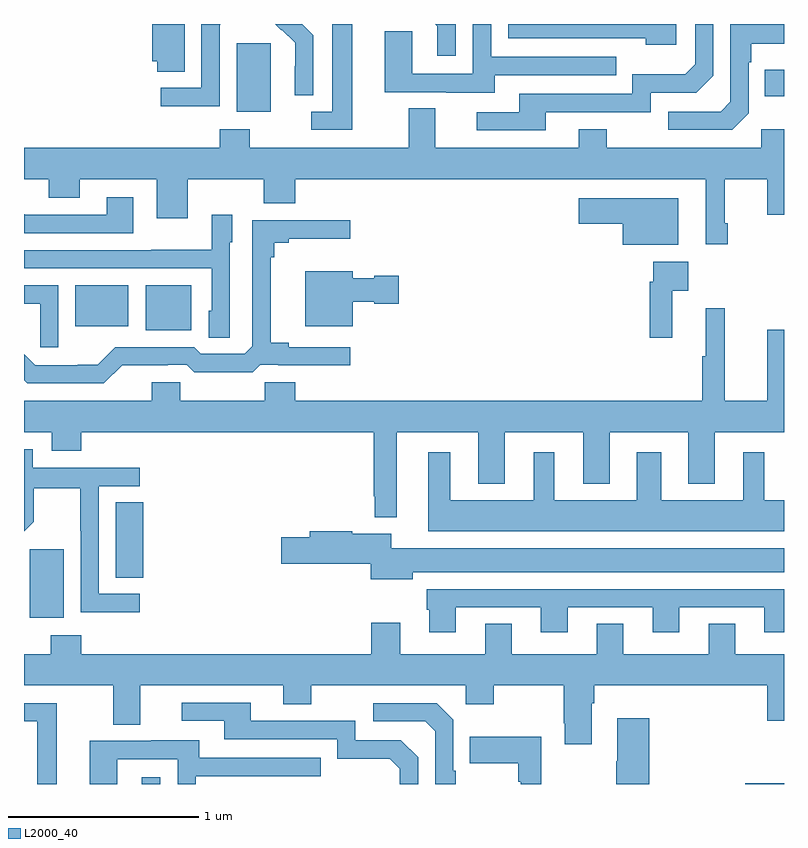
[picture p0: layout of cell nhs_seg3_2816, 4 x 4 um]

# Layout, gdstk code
import gdstk
lib = gdstk.Library(unit=1e-6, precision=1e-09)
def R(c, l, rs):  # rectangles x0, y0, x1, y1
    for r in rs: c.add(gdstk.rectangle(r[:2], r[2:], *l))
def P(c, l, *ps):  # polygons
    for p in ps: c.add(gdstk.Polygon(p, *l))
L2000_40 = (2000, 40)

nhs_seg3_2816 = lib.new_cell('nhs_seg3_2816')
R(nhs_seg3_2816, L2000_40, [(257.621,696.4,257.718,696.436), (260.796,696.4,261,696.405), (257.03,697.274,257.209,697.635), (257.483,697.486,257.627,697.883), (257.642,698.789,257.881,699.025), (257.27,698.81,257.548,699.025), (258.119,699.938,258.298,700.299), (260.899,700.019,261,700.159)])
P(nhs_seg3_2816, L2000_40, [(260.434,700.4),(259.548,700.4),(259.548,700.326),(260.273,700.326),(260.273,700.292),(260.434,700.292)],
  [(258.03,700.396),(258.033,700.396),(258.033,700.4),(257.934,700.4),(257.934,700.065),(257.721,700.065),(257.721,699.967),(258.03,699.967)],
  [(258.522,700.342),(258.464,700.4),(258.322,700.4),(258.354,700.368),(258.357,700.371),(258.428,700.301),(258.428,700.178),(258.426,700.178),(258.426,700.024),(258.522,700.024)],
  [(260.814,699.93),(260.814,700.199),(260.827,700.199),(260.827,700.295),(261,700.295),(261,700.4),(260.718,700.4),(260.718,699.99),(260.667,699.939),(260.391,699.939),(260.391,699.843),(260.727,699.843)],
  [(259.272,700.4),(259.164,700.4),(259.175,700.389),(259.175,700.233),(259.272,700.233)],
  [(259.477,700.131),(260.117,700.131),(260.117,700.227),(259.458,700.227),(259.458,700.4),(259.362,700.4),(259.362,700.137),(259.044,700.137),(259.044,700.361),(258.899,700.361),(258.899,700.041),(259.223,700.041),(259.223,700.037),(259.477,700.037)],
  [(259.747,699.936),(260.298,699.936),(260.298,700.038),(260.538,700.038),(260.628,700.128),(260.628,700.4),(260.532,700.4),(260.532,700.188),(260.479,700.135),(260.202,700.135),(260.202,700.032),(259.607,700.032),(259.607,699.936),(259.383,699.936),(259.383,699.84),(259.747,699.84)],
  [(258.727,700.4),(258.623,700.4),(258.623,699.939),(258.513,699.939),(258.513,699.843),(258.727,699.843)],
  [(257.845,700.4),(257.675,700.4),(257.675,700.203),(257.702,700.203),(257.702,700.15),(257.845,700.15)],
  [(260.705,699.352),(260.688,699.352),(260.688,699.584),(260.912,699.584),(260.912,699.396),(261,699.396),(261,699.847),(260.88,699.847),(260.88,699.748),(260.067,699.748),(260.067,699.847),(259.919,699.847),(259.919,699.748),(259.165,699.748),(259.165,699.956),(259.025,699.956),(259.025,699.748),(258.189,699.748),(258.189,699.847),(258.029,699.847),(258.029,699.748),(257,699.748),(257,699.584),(257.129,699.584),(257.129,699.485),(257.293,699.485),(257.293,699.584),(257.699,699.584),(257.699,699.378),(257.863,699.378),(257.863,699.584),(258.263,699.584),(258.263,699.456),(258.427,699.456),(258.427,699.584),(260.588,699.584),(260.588,699.24),(260.705,699.24)],
  [(257.575,699.487),(257.435,699.487),(257.435,699.396),(257.005,699.396),(257.005,699.398),(257,699.398),(257,699.3),(257.575,699.3)],
  [(260.443,699.484),(259.92,699.484),(259.92,699.35),(260.15,699.35),(260.15,699.239),(260.443,699.239)],
  [(258.084,699.252),(258.097,699.252),(258.097,699.397),(257.988,699.397),(257.988,699.211),(257.671,699.211),(257.671,699.21),(257,699.21),(257,699.114),(257.988,699.114),(257.988,698.892),(257.972,698.892),(257.972,698.749),(258.084,698.749)],
  [(257.516,698.603),(257.756,698.603),(257.756,698.607),(257.856,698.607),(257.896,698.568),(258.203,698.568),(258.243,698.607),(258.337,698.607),(258.337,698.603),(258.718,698.603),(258.718,698.7),(258.394,698.7),(258.394,698.723),(258.299,698.723),(258.299,699.173),(258.317,699.173),(258.317,699.25),(258.394,699.25),(258.394,699.269),(258.718,699.269),(258.718,699.366),(258.201,699.366),(258.201,698.703),(258.162,698.664),(257.931,698.664),(257.895,698.7),(257.481,698.7),(257.387,698.606),(257.282,698.606),(257.282,698.604),(257.058,698.604),(257,698.662),(257,698.526),(257.018,698.508),(257.421,698.508)],
  [(260.411,698.996),(260.497,698.996),(260.497,699.148),(260.313,699.148),(260.313,699.044),(260.293,699.044),(260.293,698.748),(260.411,698.748)],
  [(258.73,698.939),(258.843,698.939),(258.843,698.927),(258.973,698.927),(258.973,699.074),(258.843,699.074),(258.843,699.061),(258.73,699.061),(258.73,699.1),(258.479,699.1),(258.479,698.81),(258.73,698.81)],
  [(257.181,699.024),(257,699.024),(257,698.928),(257.085,698.928),(257.085,698.7),(257.181,698.7)],
  [(258.961,698.252),(259.391,698.252),(259.391,697.979),(259.531,697.979),(259.531,698.252),(259.943,698.252),(259.943,697.979),(260.083,697.979),(260.083,698.252),(260.495,698.252),(260.495,697.979),(260.635,697.979),(260.635,698.252),(261,698.252),(261,698.791),(260.912,698.791),(260.912,698.416),(260.688,698.416),(260.688,698.905),(260.588,698.905),(260.588,698.652),(260.569,698.652),(260.569,698.416),(258.428,698.416),(258.428,698.514),(258.267,698.514),(258.267,698.416),(257.823,698.416),(257.823,698.514),(257.672,698.514),(257.672,698.416),(257,698.416),(257,698.252),(257.147,698.252),(257.147,698.153),(257.3,698.153),(257.3,698.252),(258.84,698.252),(258.84,697.915),(258.847,697.915),(258.847,697.803),(258.961,697.803)],
  [(257.608,697.401),(257.394,697.401),(257.394,697.968),(257.608,697.968),(257.608,698.064),(257.046,698.064),(257.046,698.161),(257,698.161),(257,697.73),(257.051,697.781),(257.051,697.956),(257.296,697.956),(257.296,697.732),(257.298,697.732),(257.298,697.303),(257.608,697.303)],
  [(261,697.894),(260.896,697.894),(260.896,698.146),(260.786,698.146),(260.786,697.894),(260.353,697.894),(260.353,698.146),(260.225,698.146),(260.225,697.894),(259.792,697.894),(259.792,698.146),(259.682,698.146),(259.682,697.894),(259.243,697.894),(259.243,698.146),(259.127,698.146),(259.127,697.73),(261,697.73)],
  [(259.045,697.514),(261,697.514),(261,697.642),(258.934,697.642),(258.934,697.717),(258.728,697.717),(258.728,697.73),(258.503,697.73),(258.503,697.7),(258.354,697.7),(258.354,697.558),(258.824,697.558),(258.824,697.478),(259.045,697.478)],
  [(259.273,697.329),(259.721,697.329),(259.721,697.2),(259.861,697.2),(259.861,697.329),(260.309,697.329),(260.309,697.2),(260.449,697.2),(260.449,697.329),(260.897,697.329),(260.897,697.2),(261,697.2),(261,697.425),(259.121,697.425),(259.121,697.317),(259.133,697.317),(259.133,697.2),(259.273,697.2)],
  [(259.987,696.824),(260,696.824),(260,696.92),(260.912,696.92),(260.912,696.732),(261,696.732),(261,697.084),(260.743,697.084),(260.743,697.244),(260.603,697.244),(260.603,697.084),(260.155,697.084),(260.155,697.244),(260.015,697.244),(260.015,697.084),(259.567,697.084),(259.567,697.244),(259.427,697.244),(259.427,697.084),(258.979,697.084),(258.979,697.249),(258.827,697.249),(258.827,697.084),(257.3,697.084),(257.3,697.183),(257.14,697.183),(257.14,697.084),(257,697.084),(257,696.92),(257.471,696.92),(257.471,696.712),(257.611,696.712),(257.611,696.92),(258.365,696.92),(258.365,696.821),(258.513,696.821),(258.513,696.92),(259.326,696.92),(259.326,696.821),(259.473,696.821),(259.473,696.92),(259.84,696.92),(259.84,696.721),(259.847,696.721),(259.847,696.609),(259.987,696.609)],
  [(259.074,696.54),(258.984,696.63),(258.744,696.63),(258.744,696.732),(258.193,696.732),(258.193,696.828),(257.829,696.828),(257.829,696.732),(258.053,696.732),(258.053,696.636),(258.648,696.636),(258.648,696.533),(258.925,696.533),(258.978,696.48),(258.978,696.4),(259.074,696.4)],
  [(257.173,696.825),(257,696.825),(257,696.729),(257.069,696.729),(257.069,696.4),(257.173,696.4)],
  [(259.273,696.469),(259.26,696.469),(259.26,696.738),(259.173,696.825),(258.837,696.825),(258.837,696.729),(259.113,696.729),(259.164,696.678),(259.164,696.4),(259.273,696.4)],
  [(260.291,696.745),(260.123,696.745),(260.123,696.521),(260.116,696.521),(260.116,696.4),(260.291,696.4)],
  [(259.723,696.649),(259.345,696.649),(259.345,696.509),(259.602,696.509),(259.602,696.413),(259.614,696.413),(259.614,696.4),(259.723,696.4)],
  [(257.49,696.531),(257.808,696.531),(257.808,696.4),(257.904,696.4),(257.904,696.441),(258.563,696.441),(258.563,696.537),(257.923,696.537),(257.923,696.631),(257.669,696.631),(257.669,696.627),(257.345,696.627),(257.345,696.4),(257.49,696.4)])

lib.write_gds('nhs_seg3_2816.gds')
